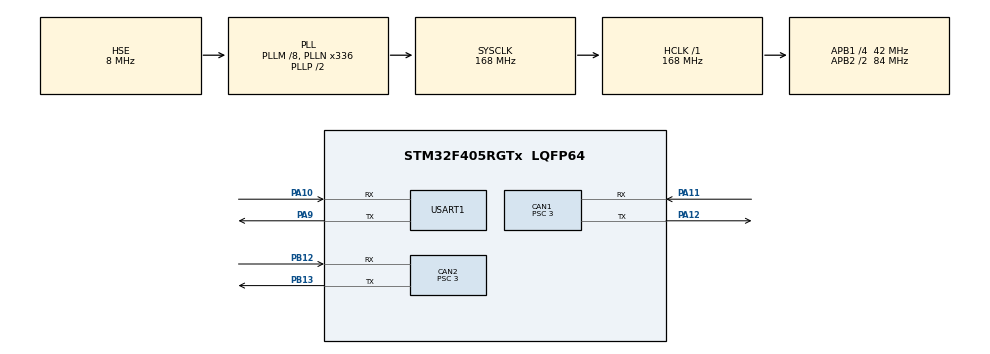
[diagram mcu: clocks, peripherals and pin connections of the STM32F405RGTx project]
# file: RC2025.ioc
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CAN1.ABOM=ENABLE
CAN1.BS1=CAN_BS1_9TQ
CAN1.BS2=CAN_BS2_4TQ
CAN1.CalculateBaudRate=1000000
CAN1.CalculateTimeBit=1000
CAN1.CalculateTimeQuantum=71.42857142857143
CAN1.Prescaler=3
CAN2.ABOM=ENABLE
CAN2.BS1=CAN_BS1_9TQ
CAN2.BS2=CAN_BS2_4TQ
CAN2.CalculateBaudRate=1000000
CAN2.CalculateTimeBit=1000
CAN2.CalculateTimeQuantum=71.42857142857143
CAN2.Prescaler=3
Dma.Request0=USART1_RX
Dma.Request1=USART1_TX
Dma.USART1_RX.0.Direction=DMA_PERIPH_TO_MEMORY
Dma.USART1_RX.0.FIFOMode=DMA_FIFOMODE_DISABLE
Dma.USART1_RX.0.Instance=DMA2_Stream2
Dma.USART1_RX.0.MemDataAlignment=DMA_MDATAALIGN_BYTE
Dma.USART1_RX.0.MemInc=DMA_MINC_ENABLE
Dma.USART1_RX.0.Mode=DMA_CIRCULAR
Dma.USART1_RX.0.PeriphDataAlignment=DMA_PDATAALIGN_BYTE
Dma.USART1_RX.0.PeriphInc=DMA_PINC_DISABLE
Dma.USART1_RX.0.Priority=DMA_PRIORITY_LOW
Dma.USART1_TX.1.Direction=DMA_MEMORY_TO_PERIPH
Dma.USART1_TX.1.FIFOMode=DMA_FIFOMODE_DISABLE
Dma.USART1_TX.1.Instance=DMA2_Stream7
Dma.USART1_TX.1.MemDataAlignment=DMA_MDATAALIGN_BYTE
Dma.USART1_TX.1.MemInc=DMA_MINC_ENABLE
Dma.USART1_TX.1.Mode=DMA_NORMAL
Dma.USART1_TX.1.PeriphDataAlignment=DMA_PDATAALIGN_BYTE
Dma.USART1_TX.1.PeriphInc=DMA_PINC_DISABLE
Dma.USART1_TX.1.Priority=DMA_PRIORITY_LOW
FREERTOS.Tasks01=defaultTask,24,128,StartDefaultTask,Default,NULL,Dynamic,NULL,NULL;PidTask,8,1024,pid_task,Default,NULL,Dynamic,NULL,NULL;PosCalculating,8,1024,pos_calculating,Default,NULL,Dynamic,NULL,NULL
FREERTOS.configENABLE_FPU=1
Mcu.Family=STM32F4
Mcu.Name=STM32F405RGTx
Mcu.Package=LQFP64
NVIC.CAN1_RX0_IRQn=true\:5\:0\:false\:false\:true\:true\:true\:true\:true
NVIC.CAN2_RX0_IRQn=true\:5\:0\:false\:false\:true\:true\:true\:true\:true
NVIC.DMA2_Stream2_IRQn=true\:5\:0\:false\:false\:true\:true\:false\:true\:true
NVIC.DMA2_Stream7_IRQn=true\:5\:0\:false\:false\:true\:true\:false\:true\:true
NVIC.PriorityGroup=NVIC_PRIORITYGROUP_4
NVIC.TIM2_IRQn=true\:15\:0\:false\:false\:true\:false\:false\:true\:true
NVIC.TimeBase=TIM2_IRQn
NVIC.TimeBaseIP=TIM2
NVIC.USART1_IRQn=true\:5\:0\:false\:false\:true\:true\:true\:true\:true
PA10.Mode=Asynchronous
PA10.Signal=USART1_RX
PA11.Mode=CAN_Activate
PA11.Signal=CAN1_RX
PA12.Mode=CAN_Activate
PA12.Signal=CAN1_TX
PA13.Mode=Serial_Wire
PA13.Signal=SYS_JTMS-SWDIO
PA14.Mode=Serial_Wire
PA14.Signal=SYS_JTCK-SWCLK
PA9.Mode=Asynchronous
PA9.Signal=USART1_TX
PB12.Mode=CAN_Activate
PB12.Signal=CAN2_RX
PB13.Mode=CAN_Activate
PB13.Signal=CAN2_TX
PH0-OSC_IN.Mode=HSE-External-Oscillator
PH0-OSC_IN.Signal=RCC_OSC_IN
PH1-OSC_OUT.Mode=HSE-External-Oscillator
PH1-OSC_OUT.Signal=RCC_OSC_OUT
ProjectManager.HeapSize=0x200
ProjectManager.StackSize=0x400
ProjectManager.TargetToolchain=STM32CubeIDE
RCC.48MHZClocksFreq_Value=84000000
RCC.AHBFreq_Value=168000000
RCC.APB1CLKDivider=RCC_HCLK_DIV4
RCC.APB1Freq_Value=42000000
RCC.APB1TimFreq_Value=84000000
RCC.APB2CLKDivider=RCC_HCLK_DIV2
RCC.APB2Freq_Value=84000000
RCC.APB2TimFreq_Value=168000000
RCC.CortexFreq_Value=168000000
RCC.HCLKFreq_Value=168000000
RCC.HSE_VALUE=8000000
RCC.HSI_VALUE=16000000
RCC.LSE_VALUE=32768
RCC.PLLM=8
RCC.PLLN=336
RCC.PLLSourceVirtual=RCC_PLLSOURCE_HSE
RCC.SYSCLKFreq_VALUE=168000000
RCC.SYSCLKSource=RCC_SYSCLKSOURCE_PLLCLK
RCC.VCOOutputFreq_Value=336000000
USART1.VirtualMode=VM_ASYNC
VP_FREERTOS_VS_CMSIS_V2.Mode=CMSIS_V2
VP_SYS_VS_tim2.Mode=TIM2
board=custom

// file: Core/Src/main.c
/* USER CODE BEGIN Header */
/**
  ******************************************************************************
  * @file           : main.c
  * @brief          : Main program body
  ******************************************************************************
  * @attention
  *
  * Copyright (c) 2024 STMicroelectronics.
  * All rights reserved.
  *
  * This software is licensed under terms that can be found in the LICENSE file
  * in the root directory of this software component.
  * If no LICENSE file comes with this software, it is provided AS-IS.
  *
  ******************************************************************************
  */
/* USER CODE END Header */
#include "main.h"
#include "cmsis_os.h"
#include "can.h"
#include "dma.h"
#include "usart.h"
#include "gpio.h"

/* USER CODE BEGIN Includes */
#include "debug.h"
#include "init.h"
#include "drv_can.h"
/* USER CODE END Includes */

void SystemClock_Config(void);
void MX_FREERTOS_Init(void);

int main(void)
{

  /* MCU Configuration--------------------------------------------------------*/

  /* Reset of all peripherals, Initializes the Flash interface and the Systick. */
  HAL_Init();

  /* Configure the system clock */
  SystemClock_Config();

  /* Initialize all configured peripherals */
  MX_GPIO_Init();
  MX_DMA_Init();
  MX_CAN1_Init();
  MX_USART1_UART_Init();
  MX_CAN2_Init();
  /* USER CODE BEGIN 2 */
  Set_Target_UartInit();
  CAN_All_Init();
  HAL_Delay(100);

  roboinit();
  /* USER CODE BEGIN 2 */

  /* USER CODE END 2 */

  /* Init scheduler */
  osKernelInitialize();

  /* Call init function for freertos objects (in cmsis_os2.c) */
  MX_FREERTOS_Init();

  /* Start scheduler */
  osKernelStart();

  /* We should never get here as control is now taken by the scheduler */

  /* Infinite loop */
  while (1)
  {

  }
}

void SystemClock_Config(void)
{
  RCC_OscInitTypeDef RCC_OscInitStruct = {0};
  RCC_ClkInitTypeDef RCC_ClkInitStruct = {0};

  /** Configure the main internal regulator output voltage
  */
  __HAL_RCC_PWR_CLK_ENABLE();
  __HAL_PWR_VOLTAGESCALING_CONFIG(PWR_REGULATOR_VOLTAGE_SCALE1);

  /** Initializes the RCC Oscillators according to the specified parameters
  * in the RCC_OscInitTypeDef structure.
  */
  RCC_OscInitStruct.OscillatorType = RCC_OSCILLATORTYPE_HSE;
  RCC_OscInitStruct.HSEState = RCC_HSE_ON;
  RCC_OscInitStruct.PLL.PLLState = RCC_PLL_ON;
  RCC_OscInitStruct.PLL.PLLSource = RCC_PLLSOURCE_HSE;
  RCC_OscInitStruct.PLL.PLLM = 8;
  RCC_OscInitStruct.PLL.PLLN = 336;
  RCC_OscInitStruct.PLL.PLLP = RCC_PLLP_DIV2;
  RCC_OscInitStruct.PLL.PLLQ = 4;
  if (HAL_RCC_OscConfig(&RCC_OscInitStruct) != HAL_OK)
  {
    Error_Handler();
  }

  /** Initializes the CPU, AHB and APB buses clocks
  */
  RCC_ClkInitStruct.ClockType = RCC_CLOCKTYPE_HCLK|RCC_CLOCKTYPE_SYSCLK
                              |RCC_CLOCKTYPE_PCLK1|RCC_CLOCKTYPE_PCLK2;
  RCC_ClkInitStruct.SYSCLKSource = RCC_SYSCLKSOURCE_PLLCLK;
  RCC_ClkInitStruct.AHBCLKDivider = RCC_SYSCLK_DIV1;
  RCC_ClkInitStruct.APB1CLKDivider = RCC_HCLK_DIV4;
  RCC_ClkInitStruct.APB2CLKDivider = RCC_HCLK_DIV2;

  if (HAL_RCC_ClockConfig(&RCC_ClkInitStruct, FLASH_LATENCY_5) != HAL_OK)
  {
    Error_Handler();
  }
}

void HAL_TIM_PeriodElapsedCallback(TIM_HandleTypeDef *htim)
{
  if (htim->Instance == TIM2) {
    HAL_IncTick();
  }
}

void Error_Handler(void)
{
  __disable_irq();
  while (1)
  {
  }
}

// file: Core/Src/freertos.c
/* USER CODE BEGIN Header */
/**
  ******************************************************************************
  * File Name          : freertos.c
  * Description        : Code for freertos applications
  ******************************************************************************
  * @attention
  *
  * Copyright (c) 2024 STMicroelectronics.
  * All rights reserved.
  *
  * This software is licensed under terms that can be found in the LICENSE file
  * in the root directory of this software component.
  * If no LICENSE file comes with this software, it is provided AS-IS.
  *
  ******************************************************************************
  */
/* USER CODE END Header */

#include "FreeRTOS.h"
#include "task.h"
#include "main.h"
#include "cmsis_os.h"

/* USER CODE BEGIN Includes */
#include <math.h>
#include "DeepMotor.h"
#include "debug.h"
#include "pid_task.h"
#include "drv_can.h"
/* USER CODE END Includes */

/* USER CODE BEGIN PTD */
uint32_t Angle;
uint32_t Speed;

extern int16_t x ;
extern int16_t y ;

float x_y;
float x2_y2;
float theta;
/* USER CODE END PTD */

/* Definitions for defaultTask */
osThreadId_t defaultTaskHandle;
const osThreadAttr_t defaultTask_attributes = {
  .name = "defaultTask",
  .stack_size = 128 * 4,
  .priority = (osPriority_t) osPriorityNormal,
};
/* Definitions for PidTask */
osThreadId_t PidTaskHandle;
const osThreadAttr_t PidTask_attributes = {
  .name = "PidTask",
  .stack_size = 1024 * 4,
  .priority = (osPriority_t) osPriorityLow,
};
/* Definitions for PosCalculating */
osThreadId_t PosCalculatingHandle;
const osThreadAttr_t PosCalculating_attributes = {
  .name = "PosCalculating",
  .stack_size = 1024 * 4,
  .priority = (osPriority_t) osPriorityLow,
};

void StartDefaultTask(void *argument);
void pid_task(void *argument);
void pos_calculating(void *argument);

void MX_FREERTOS_Init(void); /* (MISRA C 2004 rule 8.1) */

void MX_FREERTOS_Init(void) {

  /* Create the thread(s) */
  /* creation of defaultTask */
  defaultTaskHandle = osThreadNew(StartDefaultTask, NULL, &defaultTask_attributes);

  /* creation of PidTask */
  PidTaskHandle = osThreadNew(pid_task, NULL, &PidTask_attributes);

  /* creation of PosCalculating */
  PosCalculatingHandle = osThreadNew(pos_calculating, NULL, &PosCalculating_attributes);

}

void StartDefaultTask(void *argument)
{
  for(;;)
  {
    osDelay(1);
  }
}

void pid_task(void *argument)
{
  /* USER CODE BEGIN pid_task */
  /* Infinite loop */
  portTickType CurrentTime1;

  for(;;)
  {
    CurrentTime1=xTaskGetTickCount();

    //CAN_CMD_MOTOR_CONTROL(3.14f,0.0f,50.0f,5.0f,0.0f,Control_ID2);
    motor_task();

    //CAN_CMD_MOTOR_CONTROL(0.0f,1.0f,0.0f,0.0f,1.0f,Control_ID1);

    //这个是成功的位置
    /*    CAN_CMD_MOTOR_CONTROL(3.14f,0.0f,50.0f,5.0f,0.0f,Control_ID1);
    云深处最终版：串口信解决：发现是串口线没有连接好的问题；注意这个函数的五个参数的顺序：注意float CAN_GetDeep_Motor(int8_t Which_x)
    的返回为float类型；还有一个未解决的问题，就是串口接收的方式发送目标位置的话非常不稳定基本上无法实
    */

    //Angle=CAN_GetDeep_Motor(1);
    //Speed=CAN_GetDeep_Motor(2);
    //usart_printf("%d\n",123);
    vTaskDelayUntil(&CurrentTime1,5);
    //usart_printf("%d,%d\n",Angle,Speed);

  }
  /* USER CODE END pid_task */
}

void pos_calculating(void *argument)
{
  /* USER CODE BEGIN pos_calculating */
  portTickType CurrentTime2;

  /* Infinite loop */
  for(;;)
  {
    CurrentTime2=xTaskGetTickCount();
    //x = CAN_SINGLECHIP_POS_X_Y(1);
    //y = CAN_SINGLECHIP_POS_X_Y(2);

    x2_y2 = pow(x,2)+pow(y,2);//71289
    x_y = sqrt(x2_y2);//267

    theta = acos(x/x_y) - acos((x2_y2 + 801)/270/x_y);

    if(y<0)
    {
      theta=-theta;
    }

    usart_printf("%.2f\n",theta);

    vTaskDelayUntil(&CurrentTime2,5);

  }
  /* USER CODE END pos_calculating */
}
